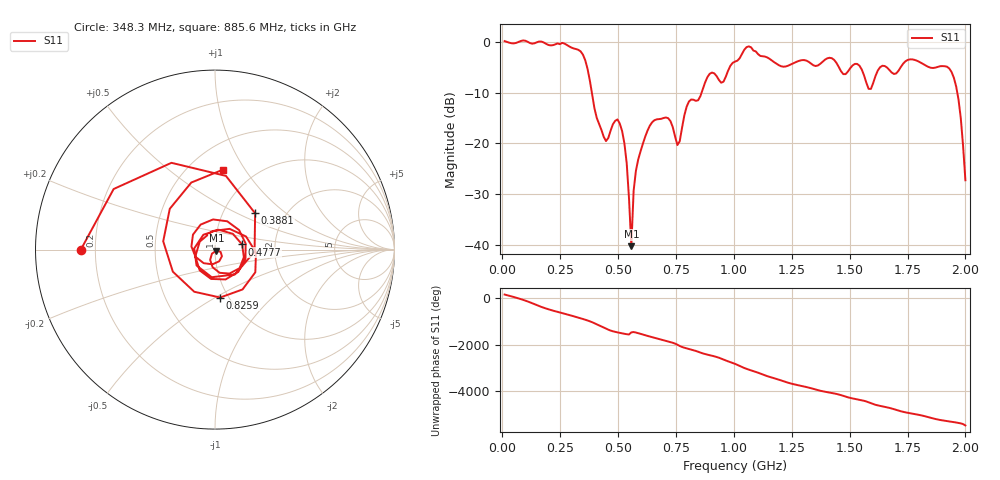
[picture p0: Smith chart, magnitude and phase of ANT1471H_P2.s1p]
!Created with skrf (http://scikit-rf.org).
# Hz S RI R 50.0
!freq ReS11 ImS11
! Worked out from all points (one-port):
!   201 points, 10 MHz to 2 GHz, reference 50 ohm
!   lowest |S11| = -40.3 dB at 557.2 MHz (marker M1), VSWR 1.02, Z = 50.8 - j0.58 ohm
!   |S11| at or under -10 dB: 386.6 MHz to 861 MHz (474.4 MHz wide, 76 % of centre); 1.965 GHz to end of sweep
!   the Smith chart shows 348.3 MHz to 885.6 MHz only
!   S11 on the Smith chart (normalised r, x): 348.3 MHz: 0.14, -0.00; 388.1 MHz: 1.41, +0.63; 477.6 MHz: 1.35, +0.08; 825.9 MHz: 0.91, -0.53; 885.6 MHz: 0.72, +0.80
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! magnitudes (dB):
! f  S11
! 10 MHz  0.1
! 258.8 MHz  -0.2
! 348.3 MHz  -2.5
! 388.1 MHz  -10.4
! 447.8 MHz  -19.6
! 477.6 MHz  -16.3
! 507.5 MHz  -16.1
! 537.4 MHz  -24.0
! 557.2 MHz  -40.3
! 567.2 MHz  -29.4
! 577.1 MHz  -25.4
! 626.9 MHz  -17.6
! 716.5 MHz  -15.1
! 756.2 MHz  -20.4
! 796 MHz  -12.8
! 825.9 MHz  -11.4
! 885.6 MHz  -7.0
! 955.2 MHz  -7.9
! 1.005 GHz  -3.9
! 1.065 GHz  -0.9
! 1.254 GHz  -4.3
! 1.502 GHz  -5.2
! 1.592 GHz  -9.3
! 1.632 GHz  -5.0
! 1.751 GHz  -3.6
! 1.94 GHz  -6.0
! 1.97 GHz  -11.3
! 2 GHz  -27.3
